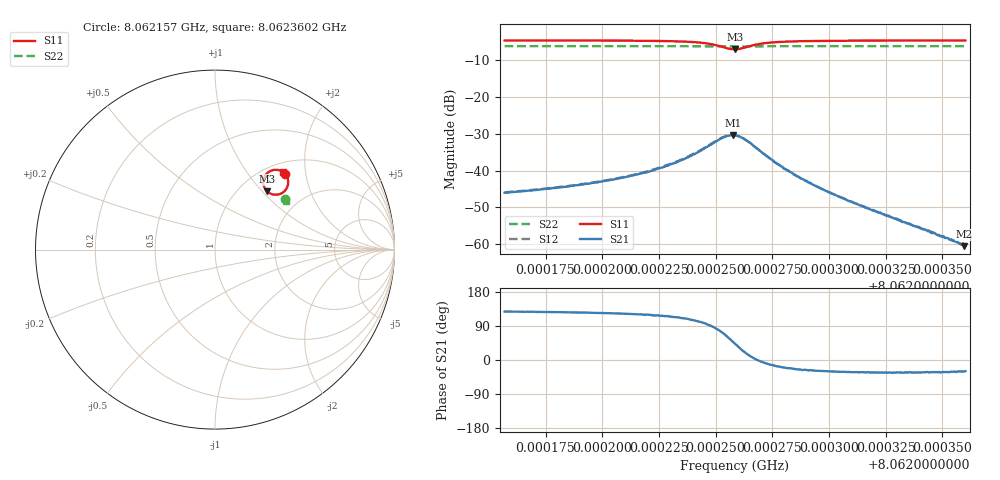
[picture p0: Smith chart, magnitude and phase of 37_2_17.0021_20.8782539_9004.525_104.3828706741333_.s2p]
#  HZ  S  RI  R  50.00
! Rohde & Schwarz Vector Network Analyzer
! Rohde-Schwarz,ZNB20-2Port,1311601062101988,3.16
! Created: UTC 3/20/2024, 10:53:44 PM
! freq[Hz]  re:S11  im:S11  re:S21  im:S21  re:S12  im:S12  re:S22  im:S22
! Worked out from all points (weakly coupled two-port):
!   401 points, 8.062157 GHz to 8.0623602 GHz, reference 50 ohm
!   highest |S21| = -30.45 dB at 8.0622576 GHz (marker M1); lowest = -60.5 dB at 8.0623597 GHz (marker M2)
!   lowest |S11| = -7.2 dB at 8.0622586 GHz (marker M3), VSWR 2.54, Z = 66.4 + j53.3 ohm
!   |S11| at or under -10 dB: nowhere
!   |S22| runs from -6.5 to -6.3 dB; largest |S21 - S12| = 0.0027
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8.06215696e9  0.3889 0.4236  -0.00306 0.00396  -0.00285 0.00415  0.3909 0.2817
8.06217627e9  0.392 0.42  -0.00339 0.00455  -0.00317 0.00483  0.3915 0.2805
8.062191e9  0.3949 0.4162  -0.00371 0.00526  -0.00347 0.00562  0.3921 0.2797
8.06221082e9  0.4001 0.4078  -0.00434 0.00696  -0.004 0.00736  0.3927 0.2786
8.06221997e9  0.4033 0.4011  -0.00471 0.00832  -0.00427 0.00879  0.393 0.2777
8.06222505e9  0.4052 0.3957  -0.00485 0.00963  -0.00435 0.00992  0.3932 0.2772
8.06223673e9  0.4083 0.3753  -0.00485 0.0138  -0.00395 0.0143  0.3934 0.2758
8.06224639e9  0.3982 0.3394  -0.00135 0.021  -9.87e-05 0.0214  0.3927 0.274
8.0622535e9  0.3508 0.3066  0.00961 0.0263  0.0118 0.0259  0.3905 0.2732
8.06225756e9  0.3007 0.3168  0.0198 0.0226  0.0218 0.0211  0.3887 0.2741
8.06225858e9  0.2898 0.3254  0.0218 0.0204  0.0236 0.0186  0.3885 0.2746
8.06226061e9  0.2745 0.3478  0.0245 0.0153  0.0257 0.0132  0.3884 0.2758
8.06226315e9  0.269 0.3782  0.0247 0.0086  0.0253 0.00668  0.3886 0.2769
8.06227078e9  0.2974 0.4313  0.0172 -0.00167  0.0171 -0.00291  0.3908 0.2781
8.06228094e9  0.3314 0.4444  0.00972 -0.0037  0.0095 -0.00423  0.3927 0.2777
8.06229262e9  0.3508 0.4437  0.00577 -0.00298  0.0056 -0.00336  0.3939 0.2768
8.06230787e9  0.3633 0.4402  0.00339 -0.00208  0.0033 -0.00228  0.3948 0.2758
8.06232667e9  0.3715 0.4367  0.00201 -0.00131  0.00193 -0.00145  0.3957 0.2747
8.06234242e9  0.3757 0.4343  0.00135 -0.000862  0.00127 -0.000935  0.3963 0.2738
8.06234496e9  0.3762 0.434  0.00121 -0.000777  0.00121 -0.00088  0.3963 0.2737
8.06235969e9  0.3792 0.4322  0.000817 -0.00048  0.000797 -0.000525  0.3969 0.2729
8.0623602e9  0.3793 0.432  0.000841 -0.000473  0.00079 -0.000566  0.3969 0.2727
